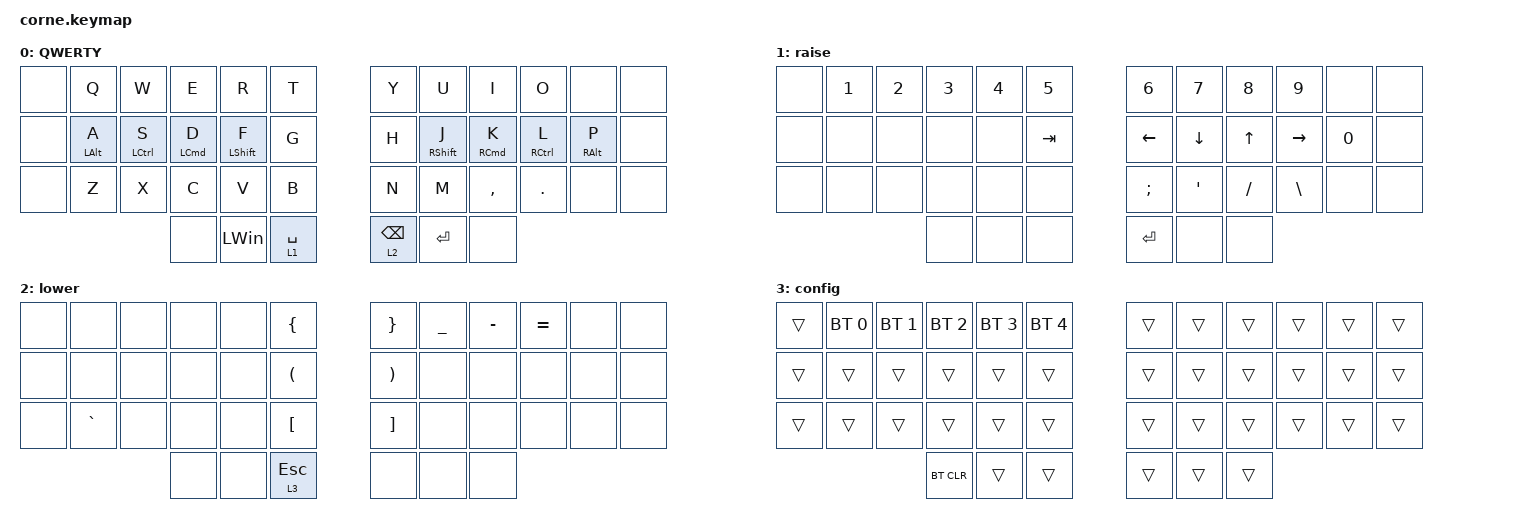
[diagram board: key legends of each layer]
/*
 * Copyright (c) 2020 The ZMK Contributors
 *
 * SPDX-License-Identifier: MIT
 */

#include "led_count.h"
#include <behaviors.dtsi>
#include <dt-bindings/zmk/bt.h>
#include <dt-bindings/zmk/keys.h>

// dt-formatter: indent = "  "
// dt-formatter: reindentMultilineIntegerCells = "dedent"

/ {
  combos { compatible = "zmk,combos"; };

  behaviors {
    new_behavior: new_behavior {
      compatible = "zmk,behavior-hold-tap";
      label = "NEW_BEHAVIOR";
      bindings = <&kp>, <&kp>;

      #binding-cells = <2>;
      flavor = "balanced";
      tapping-term-ms = <250>;
    };
  };

  keymap {
    compatible = "zmk,keymap";

    qwerty {
      bindings = <
&none  &kp Q                     &kp W                  &kp E                 &kp R                   &kp T          &kp Y            &kp U                   &kp I                 &kp O                  &none                      &none
&none  &new_behavior LEFT_ALT A  &new_behavior LCTRL S  &new_behavior LCMD D  &new_behavior LSHIFT F  &kp G          &kp H            &new_behavior RSHIFT J  &new_behavior RCMD K  &new_behavior RCTRL L  &new_behavior RIGHT_ALT P  &none
&none  &kp Z                     &kp X                  &kp C                 &kp V                   &kp B          &kp N            &kp M                   &kp COMMA             &kp DOT                &none                      &none
                                                        &none                 &kp LWIN                &lt 1 SPACE    &lt 2 BACKSPACE  &kp ENTER               &none
      >;

      label = "QWERTY";
    };

    raise {
      bindings = <
&none  &kp N1  &kp N2  &kp N3  &kp N4  &kp N5     &kp N6     &kp N7    &kp N8    &kp N9     &none   &none
&none  &none   &none   &none   &none   &kp TAB    &kp LEFT   &kp DOWN  &kp UP    &kp RIGHT  &kp N0  &none
&none  &none   &none   &none   &none   &none      &kp SEMI   &kp APOS  &kp FSLH  &kp BSLH   &none   &none
                       &none   &none   &none      &kp ENTER  &none     &none
      >;

      label = "raise";
    };

    lower {
      bindings = <
&none  &none      &none  &none  &none  &kp LBRC        &kp RIGHT_BRACE  &kp UNDERSCORE  &kp MINUS  &kp EQUAL  &none  &none
&none  &none      &none  &none  &none  &kp LPAR        &kp RPAR         &none           &none      &none      &none  &none
&none  &kp GRAVE  &none  &none  &none  &kp LBKT        &kp RBKT         &none           &none      &none      &none  &none
                         &none  &none  &lt 3 ESCAPE    &none            &none           &none
      >;

      label = "lower";
    };

    config {
      bindings = <
&trans  &bt BT_SEL 0  &bt BT_SEL 1  &bt BT_SEL 2  &bt BT_SEL 3  &bt BT_SEL 4    &trans  &trans  &trans  &trans  &trans  &trans
&trans  &trans        &trans        &trans        &trans        &trans          &trans  &trans  &trans  &trans  &trans  &trans
&trans  &trans        &trans        &trans        &trans        &trans          &trans  &trans  &trans  &trans  &trans  &trans
                                    &bt BT_CLR    &trans        &trans          &trans  &trans  &trans
      >;

      label = "config";
    };
  };

  conditional_layers { compatible = "zmk,conditional-layers"; };
};
